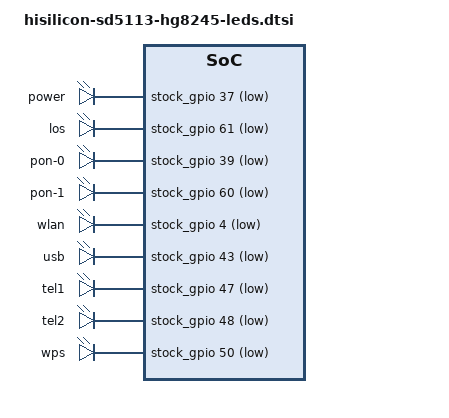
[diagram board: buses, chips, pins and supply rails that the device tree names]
// SPDX-License-Identifier: GPL-2.0-only

#include <dt-bindings/gpio/gpio.h>

/*
 * HG8245V2, board 1 / PCB 3 only. WLAN LED owns GPIO4; the combined
 * board-I/O profile enables SPI CS0 only, using GPIO0[3:0].
 * Start every indicator off, matching stock GPIO initialization.
 * Userspace may set brightness; no link or telephony policy here.
 */
/ {
	leds {
		compatible = "gpio-leds";

		led-power {
			label = "power";
			gpios = <&stock_gpio 37 GPIO_ACTIVE_LOW>;
			default-state = "off";
		};

		/* Both stock LOS channels are aliases for the same GPIO. */
		led-los {
			label = "los";
			gpios = <&stock_gpio 61 GPIO_ACTIVE_LOW>;
			default-state = "off";
		};

		/* Use stock channel indices rather than assume lamp colors. */
		led-pon-0 {
			label = "pon-0";
			gpios = <&stock_gpio 39 GPIO_ACTIVE_LOW>;
			default-state = "off";
		};

		led-pon-1 {
			label = "pon-1";
			gpios = <&stock_gpio 60 GPIO_ACTIVE_LOW>;
			default-state = "off";
		};

		led-wlan {
			label = "wlan";
			gpios = <&stock_gpio 4 GPIO_ACTIVE_LOW>;
			default-state = "off";
		};

		led-usb {
			label = "usb";
			gpios = <&stock_gpio 43 GPIO_ACTIVE_LOW>;
			default-state = "off";
		};

		led-tel1 {
			label = "tel1";
			gpios = <&stock_gpio 47 GPIO_ACTIVE_LOW>;
			default-state = "off";
		};

		led-tel2 {
			label = "tel2";
			gpios = <&stock_gpio 48 GPIO_ACTIVE_LOW>;
			default-state = "off";
		};

		led-wps {
			label = "wps";
			gpios = <&stock_gpio 50 GPIO_ACTIVE_LOW>;
			default-state = "off";
		};
	};
};
